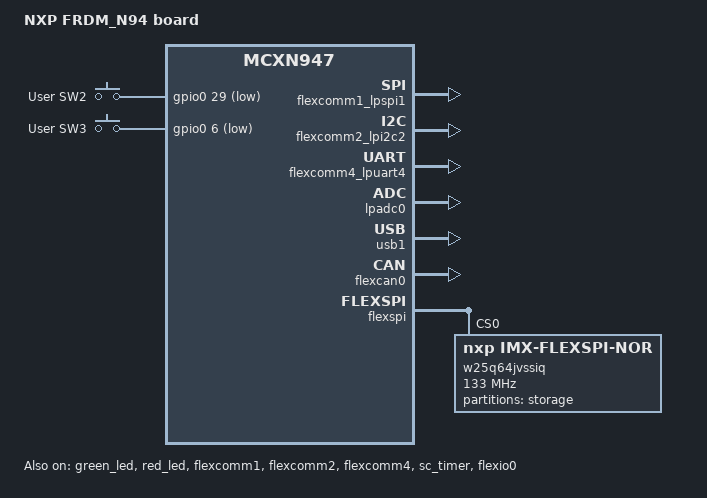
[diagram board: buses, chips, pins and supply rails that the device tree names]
/*
 * Copyright 2023 NXP
 *
 * SPDX-License-Identifier: Apache-2.0
 */

/dts-v1/;

#include <nxp/nxp_mcxn94x.dtsi>
#include "frdm_mcxn947.dtsi"

/ {
	model = "NXP FRDM_N94 board";
	compatible = "nxp,mcxn947", "nxp,mcx";

	cpus {
		/delete-node/ cpu@1;
	};

	aliases{
		sw0 = &user_button_3;
		sw1 = &user_button_2;
		/* For pwm test suites */
		pwm-0 = &sc_timer;
	};

	chosen {
		zephyr,sram = &sram0;
		zephyr,flash = &flash;
		zephyr,flash-controller = &fmu;
		zephyr,code-partition = &slot0_partition;
		zephyr,console = &flexcomm4_lpuart4;
		zephyr,shell-uart = &flexcomm4_lpuart4;
		zephyr,canbus = &flexcan0;
		zephyr,display = &st7796s;
	};

	gpio_keys {
		compatible = "gpio-keys";
		user_button_2: button_0 {
			label = "User SW2";
			gpios = <&gpio0 29 (GPIO_ACTIVE_LOW | GPIO_PULL_UP)>;
		};
		user_button_3: button_1 {
			label = "User SW3";
			gpios = <&gpio0 6 (GPIO_ACTIVE_LOW | GPIO_PULL_UP)>;
		};
	};
};

/*
 * Default for this board is to allocate SRAM0-5 to cpu0 but the
 * application can have an application specific device tree to
 * allocate the SRAM0-7 differently.
 *
 * For example, SRAM0-6 could be allocated to cpu0 with only SRAM7
 * for cpu1. This would require the value of sram0 to have a DT_SIZE_K
 * of 384. You would have to make updates to cpu1 sram settings as well.
 */
&sram0 {
	compatible = "mmio-sram";
	reg = <0x20000000 DT_SIZE_K(320)>;
};

&gpio4 {
	status = "okay";
};

&gpio1 {
	status = "okay";
};

&gpio0 {
	status = "okay";
};

&green_led {
	status = "okay";
};

&red_led {
	status = "okay";
};

&flexcomm1 {
	status = "okay";
};

&flexcomm1_lpspi1 {
	status = "okay";
};


&flexcomm2 {
	status = "okay";
};

&flexcomm2_lpi2c2 {
	status = "okay";
};

&flexcomm4 {
	status = "okay";
};

&flexcomm4_lpuart4 {
	status = "okay";
};


&sc_timer {
	status = "okay";
};

&lpadc0 {
	status = "okay";
};

zephyr_udc0: &usb1 {
	status = "okay";
};

&flexcan0 {
	status = "okay";
};

&flexio0 {
	status = "okay";
};

&flexspi {
	status = "okay";
	pinctrl-0 = <&pinmux_flexspi>;
	pinctrl-names = "default";
	ahb-prefetch;
	ahb-bufferable;
	ahb-cacheable;
	ahb-read-addr-opt;
	combination-mode;
	rx-clock-source = <1>;

	/* WINBOND flash memory*/
	w25q64jvssiq: w25q64jvssiq@0 {
		compatible = "nxp,imx-flexspi-nor";
		size = <67108864>;
		reg = <0>;
		spi-max-frequency = <133000000>;
		status = "okay";
		jedec-id = [ef 40 17];
		erase-block-size = <4096>;
		write-block-size = <1>;
		cs-interval-unit = <1>;
		cs-interval = <2>;
		cs-hold-time = <3>;
		cs-setup-time = <3>;
		data-valid-time = <2>;
		column-space = <0>;
		partitions {
			compatible = "fixed-partitions";
			#address-cells = <1>;
			#size-cells = <1>;
			/* Reserve 2MB for Bootloader, use 6MB */
			storage_partition: partition@200000 {
				label = "storage";
				reg = <0x00200000 DT_SIZE_M(6)>;
			};
		};
	};
};
